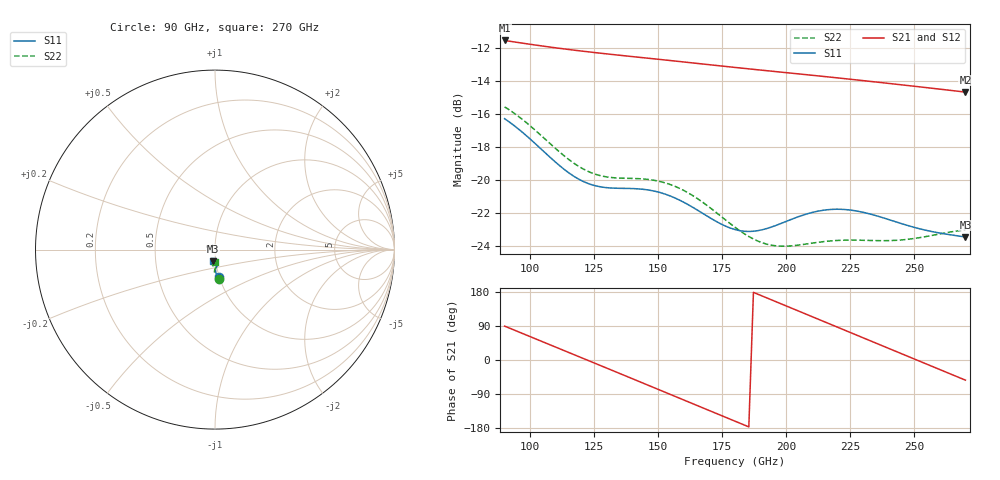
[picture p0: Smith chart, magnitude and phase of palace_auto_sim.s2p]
#  GHZ S DB R 50
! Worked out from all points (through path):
!   101 points, 90 GHz to 270 GHz, reference 50 ohm
!   highest |S21| = -11.56 dB at 90 GHz (marker M1); lowest = -14.7 dB at 270 GHz (marker M2)
!   group delay of S21, straight-line fit = 7.76 ps
!   lowest |S11| = -23.5 dB at 270 GHz (marker M3), VSWR 1.14, Z = 48.5 - j6.46 ohm
!   |S11| at or under -10 dB: start of sweep to end of sweep
!   |S22| runs from -24.0 to -15.6 dB; largest |S21 - S12| = 2.2e-13
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90  -16.30 -82.4  -11.56 89.4  -11.56 89.4  -15.58 -82.5
97.2  -17.15 -86.1  -11.73 69.4  -11.73 69.4  -16.38 -86.9
106.2  -18.41 -88.5  -11.93 44.4  -11.93 44.4  -17.59 -90.6
113.4  -19.38 -88.1  -12.08 24.4  -12.08 24.4  -18.56 -91.2
120.6  -20.09 -86.0  -12.21 4.4  -12.21 4.4  -19.34 -90.0
127.8  -20.43 -83.7  -12.34 -15.6  -12.34 -15.6  -19.76 -88.3
135  -20.51 -82.7  -12.46 -35.7  -12.46 -35.7  -19.90 -87.5
144  -20.57 -84.0  -12.60 -60.8  -12.60 -60.8  -19.95 -89.1
151.2  -20.79 -86.2  -12.72 -80.9  -12.72 -80.9  -20.12 -92.0
163.8  -21.69 -89.5  -12.93 -116.2  -12.93 -116.2  -20.98 -97.8
172.8  -22.53 -88.9  -13.08 -141.3  -13.08 -141.3  -22.00 -100.0
180  -23.01 -86.1  -13.19 -161.4  -13.19 -161.4  -22.87 -99.5
187.2  -23.11 -82.5  -13.31 178.5  -13.31 178.5  -23.59 -96.8
194.4  -22.85 -80.1  -13.42 158.3  -13.42 158.3  -23.96 -93.1
203.4  -22.31 -80.0  -13.56 133.2  -13.56 133.2  -23.98 -89.2
210.6  -21.96 -82.1  -13.68 113.0  -13.68 113.0  -23.82 -87.8
217.8  -21.79 -85.3  -13.79 92.9  -13.79 92.9  -23.69 -87.5
225  -21.83 -88.9  -13.91 72.7  -13.91 72.7  -23.65 -87.8
241.2  -22.46 -95.0  -14.18 27.4  -14.18 27.4  -23.68 -87.8
248.4  -22.81 -96.4  -14.31 7.2  -14.31 7.2  -23.59 -87.6
255.6  -23.09 -97.2  -14.43 -12.9  -14.43 -12.9  -23.41 -87.8
270  -23.46 -99.0  -14.69 -53.1  -14.69 -53.1  -23.04 -90.9
